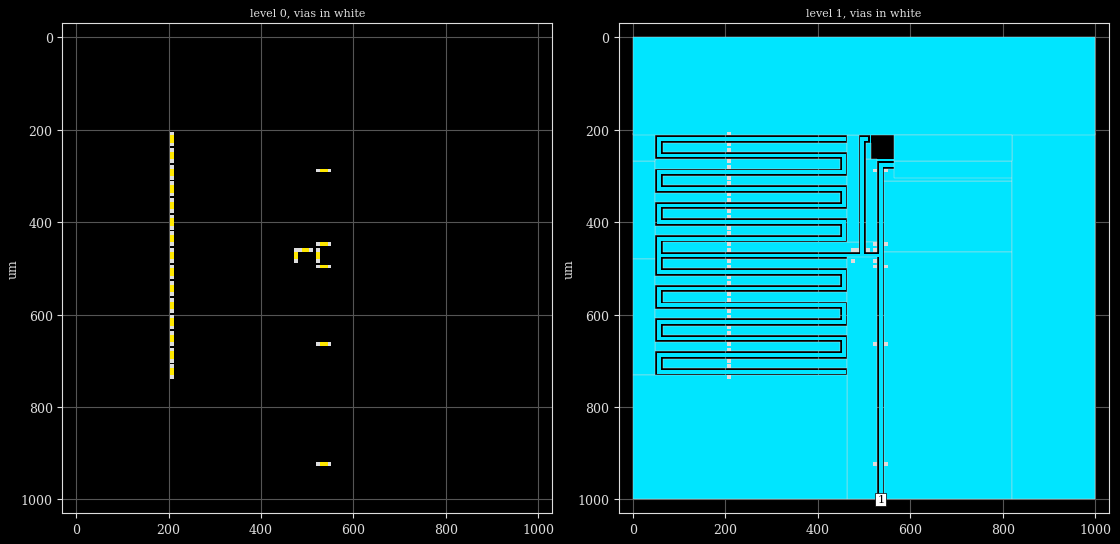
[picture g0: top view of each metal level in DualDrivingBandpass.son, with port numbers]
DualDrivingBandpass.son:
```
FTYP SONPROJ 15 ! Sonnet Project File
VER 16.52
HEADER
LIC calt2.2.43068 b4ae2bd1247e DESKTOP-SL82IK9 Michael
DAT 06/24/2016 17:07:41
BUILT_BY_CREATED xgeom 16.52 04/11/2016 14:48:12
BUILT_BY_SAVED xgeom 16.52
MDATE 06/24/2016 17:07:41
HDATE 06/24/2016 17:07:41
END HEADER
DIM
FREQ GHZ
IND NH
LNG UM
ANG DEG
CON /OH
CAP PF
RES OH
END DIM
FREQ
ABS 5.0 26.0 
END FREQ
CONTROL
ABS
OPTIONS  -dj 
SPEED 0
CACHE_ABS 1
TARG_ABS 300
Q_ACC Y
DET_ABS_RES Y
END CONTROL
GEO
DRP1 RIGHT FIX 100
TMET "Lossless" 0 SUP 0 0 0 0
BMET "Lossless" 0 SUP 0 0 0 0
BOX 3 1000 1000 500 500 20 0
      500 1 1 0 0 0 0 "Unnamed"
      10 1 1 0 0 0 0 "Unnamed"
      500 11.9 1 5e-006 0 0 0 "Silicon (intrinsic)"
      500 1 1 0 0 0 0 "Unnamed"
LORGN 0 1000 U 
POR1 STD
POLY 30 1
2
1 50 0 0 0 536.0000043 999.9999669 
NUM 136
0 5 -1 N 82 1 1 100 100 0 0 0 Y
520 284
552 284
552 292
520 292
520 284
END
0 5 -1 N 87 1 1 100 100 0 0 0 Y
520 456
528 456
528 488
520 488
520 456
END
0 5 -1 N 88 1 1 100 100 0 0 0 Y
472 456
480 456
480 488
472 488
472 456
END
0 5 -1 N 93 1 1 100 100 0 0 0 Y
204 456
212 456
212 488
204 488
204 456
END
0 5 -1 N 98 1 1 100 100 0 0 0 Y
204 420
212 420
212 452
204 452
204 420
END
0 5 -1 N 103 1 1 100 100 0 0 0 Y
204 384
212 384
212 416
204 416
204 384
END
0 5 -1 N 104 1 1 100 100 0 0 0 Y
204 348
212 348
212 380
204 380
204 348
END
0 5 -1 N 113 1 1 100 100 0 0 0 Y
204 312
212 312
212 344
204 344
204 312
END
0 5 -1 N 114 1 1 100 100 0 0 0 Y
204 276
212 276
212 308
204 308
204 276
END
0 5 -1 N 115 1 1 100 100 0 0 0 Y
204 240
212 240
212 272
204 272
204 240
END
0 5 -1 N 116 1 1 100 100 0 0 0 Y
204 204
212 204
212 236
204 236
204 204
END
0 5 -1 N 134 1 1 100 100 0 0 0 Y
520 492
552 492
552 500
520 500
520 492
END
0 5 -1 N 139 1 1 100 100 0 0 0 Y
520 444
552 444
552 452
520 452
520 444
END
0 5 -1 N 239 1 1 100 100 0 0 0 Y
204 492
212 492
212 524
204 524
204 492
END
0 5 -1 N 240 1 1 100 100 0 0 0 Y
204 528
212 528
212 560
204 560
204 528
END
0 5 -1 N 241 1 1 100 100 0 0 0 Y
204 564
212 564
212 596
204 596
204 564
END
0 5 -1 N 242 1 1 100 100 0 0 0 Y
204 600
212 600
212 632
204 632
204 600
END
0 5 -1 N 243 1 1 100 100 0 0 0 Y
204 636
212 636
212 668
204 668
204 636
END
0 5 -1 N 244 1 1 100 100 0 0 0 Y
204 672
212 672
212 704
204 704
204 672
END
0 5 -1 N 245 1 1 100 100 0 0 0 Y
204 708
212 708
212 740
204 740
204 708
END
0 5 -1 N 256 1 1 100 100 0 0 0 Y
520 660
552 660
552 668
520 668
520 660
END
0 5 -1 N 261 1 1 100 100 0 0 0 Y
520 920
552 920
552 928
520 928
520 920
END
0 5 -1 N 267 1 1 100 100 0 0 0 Y
480 456
512 456
512 464
480 464
480 456
END
1 5 -1 N 30 1 1 100 100 0 0 0 Y
532.0000085 476.000045
540 476.000045
540 999.9999669
532.0000085 999.9999669
532.0000085 476.000045
END
1 5 -1 N 31 1 1 100 100 0 0 0 Y
52.00001941 468
540 468
540 475.9999955
52.00001941 475.9999955
52.00001941 468
END
1 5 -1 N 32 1 1 100 100 0 0 0 Y
532 271.9999851
539.9999547 271.9999851
539.9999547 468
532 468
532 271.9999851
END
1 5 -1 N 33 1 1 100 100 0 0 0 Y
540 272
564 272
564 280.0000147
540 280.0000147
540 272
END
1 5 -1 N 34 1 1 100 100 0 0 0 Y
516.0000126 263.9999917
564.0000504 263.9999917
564.0000504 268.0000136
516.0000126 268.0000136
516.0000126 263.9999917
END
1 5 -1 N 35 1 1 100 100 0 0 0 Y
544 312
820 312
820 464
544 464
544 312
END
1 5 -1 N 36 1 1 100 100 0 0 0 Y
544 464
820 464
820 1000
544 1000
544 464
END
1 5 -1 N 38 1 1 100 100 0 0 0 Y
51.9999738 432
460 432
460 440.0000247
51.9999738 440.0000247
51.9999738 432
END
1 5 -1 N 42 1 1 100 100 0 0 0 Y
51.9999738 440.0000247
60 440.0000247
60 468
51.9999738 468
51.9999738 440.0000247
END
1 5 -1 N 43 1 1 100 100 0 0 0 Y
64 444
487.9999783 444
487.9999783 464
64 464
64 444
END
1 5 -1 N 44 1 1 100 100 0 0 0 Y
51.9999738 396
460 396
460 404.0000247
51.9999738 404.0000247
51.9999738 396
END
1 5 -1 N 45 1 1 100 100 0 0 0 Y
48.00002069 408
447.9999812 408
447.9999812 428
48.00002069 428
48.00002069 408
END
1 5 -1 N 47 1 1 100 100 0 0 0 Y
452 404.0000247
460 404.0000247
460 432
452 432
452 404.0000247
END
1 5 -1 N 49 1 1 100 100 0 0 0 Y
-2.312681663e-005 268.0000136
48 268.0000136
48 480.0000278
-2.312681663e-005 480.0000278
-2.312681663e-005 268.0000136
END
1 5 -1 N 50 1 1 100 100 0 0 0 Y
544.0000054 283.9999671
820 283.9999671
820 312
544.0000054 312
544.0000054 283.9999671
END
1 5 -1 N 51 1 1 100 100 0 0 0 Y
564.0000504 268.0000136
820 268.0000136
820 304.0000479
564.0000504 304.0000479
564.0000504 268.0000136
END
1 5 -1 N 58 1 1 100 100 0 0 0 Y
820 208.0000082
1000 208.0000082
1000 1000
820 1000
820 208.0000082
END
1 5 -1 N 59 1 1 100 100 0 0 0 Y
51.9999738 368.0000247
60 368.0000247
60 396
51.9999738 396
51.9999738 368.0000247
END
1 5 -1 N 60 1 1 100 100 0 0 0 Y
51.9999738 360
460 360
460 368.0000247
51.9999738 368.0000247
51.9999738 360
END
1 5 -1 N 61 1 1 100 100 0 0 0 Y
48.00002069 336
447.9999812 336
447.9999812 356
48.00002069 356
48.00002069 336
END
1 5 -1 N 62 1 1 100 100 0 0 0 Y
51.9999738 324
460 324
460 332.0000247
51.9999738 332.0000247
51.9999738 324
END
1 5 -1 N 63 1 1 100 100 0 0 0 Y
452 332.0000247
460 332.0000247
460 360
452 360
452 332.0000247
END
1 5 -1 N 64 1 1 100 100 0 0 0 Y
64.00002069 372
463.9999812 372
463.9999812 392
64.00002069 392
64.00002069 372
END
1 5 -1 N 65 1 1 100 100 0 0 0 Y
51.9999738 296.0000247
60 296.0000247
60 324
51.9999738 324
51.9999738 296.0000247
END
1 5 -1 N 66 1 1 100 100 0 0 0 Y
64.00002069 300
463.9999812 300
463.9999812 320
64.00002069 320
64.00002069 300
END
1 5 -1 N 67 1 1 100 100 0 0 0 Y
51.9999738 288
460 288
460 296.0000247
51.9999738 296.0000247
51.9999738 288
END
1 5 -1 N 68 1 1 100 100 0 0 0 Y
48.00002069 264
447.9999812 264
447.9999812 284
48.00002069 284
48.00002069 264
END
1 5 -1 N 69 1 1 100 100 0 0 0 Y
452 260.0000247
460 260.0000247
460 288
452 288
452 260.0000247
END
1 5 -1 N 70 1 1 100 100 0 0 0 Y
51.9999738 252
460 252
460 260.0000247
51.9999738 260.0000247
51.9999738 252
END
1 5 -1 N 71 1 1 100 100 0 0 0 Y
51.9999738 224.0000247
60 224.0000247
60 252
51.9999738 252
51.9999738 224.0000247
END
1 5 -1 N 72 1 1 100 100 0 0 0 Y
51.9999738 216
460 216
460 224.0000247
51.9999738 224.0000247
51.9999738 216
END
1 5 -1 N 73 1 1 100 100 0 0 0 Y
64.00002069 228
463.9999812 228
463.9999812 248
64.00002069 248
64.00002069 228
END
1 5 -1 N 74 1 1 100 100 0 0 0 Y
0 208.0000348
48 208.0000348
48 268.0000136
0 268.0000136
0 208.0000348
END
VIA POLYGON
1 5 -1 N 79 1 1 100 100 0 0 0 Y
TOLEVEL 0 RING NOCOVERS
520 284
528 284
528 292
520 292
520 284
END
VIA POLYGON
1 5 -1 N 81 1 1 100 100 0 0 0 Y
TOLEVEL 0 RING NOCOVERS
544 284
552 284
552 292
544 292
544 284
END
VIA POLYGON
1 5 -1 N 84 1 1 100 100 0 0 0 Y
TOLEVEL 0 RING NOCOVERS
520 480
528 480
528 488
520 488
520 480
END
VIA POLYGON
1 5 -1 N 86 1 1 100 100 0 0 0 Y
TOLEVEL 0 RING NOCOVERS
520 456
528 456
528 464
520 464
520 456
END
VIA POLYGON
1 5 -1 N 90 1 1 100 100 0 0 0 Y
TOLEVEL 0 RING NOCOVERS
472 480
480 480
480 488
472 488
472 480
END
VIA POLYGON
1 5 -1 N 92 1 1 100 100 0 0 0 Y
TOLEVEL 0 RING NOCOVERS
472 456
480 456
480 464
472 464
472 456
END
VIA POLYGON
1 5 -1 N 95 1 1 100 100 0 0 0 Y
TOLEVEL 0 RING NOCOVERS
204 480
212 480
212 488
204 488
204 480
END
VIA POLYGON
1 5 -1 N 97 1 1 100 100 0 0 0 Y
TOLEVEL 0 RING NOCOVERS
204 456
212 456
212 464
204 464
204 456
END
VIA POLYGON
1 5 -1 N 100 1 1 100 100 0 0 0 Y
TOLEVEL 0 RING NOCOVERS
204 444
212 444
212 452
204 452
204 444
END
VIA POLYGON
1 5 -1 N 102 1 1 100 100 0 0 0 Y
TOLEVEL 0 RING NOCOVERS
204 420
212 420
212 428
204 428
204 420
END
VIA POLYGON
1 5 -1 N 106 1 1 100 100 0 0 0 Y
TOLEVEL 0 RING NOCOVERS
204 408
212 408
212 416
204 416
204 408
END
VIA POLYGON
1 5 -1 N 108 1 1 100 100 0 0 0 Y
TOLEVEL 0 RING NOCOVERS
204 384
212 384
212 392
204 392
204 384
END
VIA POLYGON
1 5 -1 N 110 1 1 100 100 0 0 0 Y
TOLEVEL 0 RING NOCOVERS
204 372
212 372
212 380
204 380
204 372
END
VIA POLYGON
1 5 -1 N 112 1 1 100 100 0 0 0 Y
TOLEVEL 0 RING NOCOVERS
204 348
212 348
212 356
204 356
204 348
END
VIA POLYGON
1 5 -1 N 118 1 1 100 100 0 0 0 Y
TOLEVEL 0 RING NOCOVERS
204 336
212 336
212 344
204 344
204 336
END
VIA POLYGON
1 5 -1 N 120 1 1 100 100 0 0 0 Y
TOLEVEL 0 RING NOCOVERS
204 312
212 312
212 320
204 320
204 312
END
VIA POLYGON
1 5 -1 N 122 1 1 100 100 0 0 0 Y
TOLEVEL 0 RING NOCOVERS
204 300
212 300
212 308
204 308
204 300
END
VIA POLYGON
1 5 -1 N 124 1 1 100 100 0 0 0 Y
TOLEVEL 0 RING NOCOVERS
204 276
212 276
212 284
204 284
204 276
END
VIA POLYGON
1 5 -1 N 126 1 1 100 100 0 0 0 Y
TOLEVEL 0 RING NOCOVERS
204 264
212 264
212 272
204 272
204 264
END
VIA POLYGON
1 5 -1 N 128 1 1 100 100 0 0 0 Y
TOLEVEL 0 RING NOCOVERS
204 240
212 240
212 248
204 248
204 240
END
VIA POLYGON
1 5 -1 N 130 1 1 100 100 0 0 0 Y
TOLEVEL 0 RING NOCOVERS
204 228
212 228
212 236
204 236
204 228
END
VIA POLYGON
1 5 -1 N 132 1 1 100 100 0 0 0 Y
TOLEVEL 0 RING NOCOVERS
204 204
212 204
212 212
204 212
204 204
END
VIA POLYGON
1 5 -1 N 136 1 1 100 100 0 0 0 Y
TOLEVEL 0 RING NOCOVERS
520 492
528 492
528 500
520 500
520 492
END
VIA POLYGON
1 5 -1 N 138 1 1 100 100 0 0 0 Y
TOLEVEL 0 RING NOCOVERS
544 492
552 492
552 500
544 500
544 492
END
VIA POLYGON
1 5 -1 N 141 1 1 100 100 0 0 0 Y
TOLEVEL 0 RING NOCOVERS
520 444
528 444
528 452
520 452
520 444
END
VIA POLYGON
1 5 -1 N 143 1 1 100 100 0 0 0 Y
TOLEVEL 0 RING NOCOVERS
544 444
552 444
552 452
544 452
544 444
END
1 5 -1 N 144 1 1 100 100 0 0 0 Y
504 263.9999917
528 263.9999917
528 444
504 444
504 263.9999917
END
1 5 -1 N 145 1 1 100 100 0 0 0 Y
504 444
528 444
528 464
504 464
504 444
END
1 5 -1 N 146 1 1 100 100 0 0 0 Y
492 215.9999698
500 215.9999698
500 467.9999805
492 467.9999805
492 215.9999698
END
1 5 -1 N 147 1 1 100 100 0 0 0 Y
500 215.9999698
508 215.9999698
508 224
500 224
500 215.9999698
END
1 5 -1 N 150 1 1 100 100 0 0 0 Y
464 212.0000026
487.9999783 212.0000026
487.9999783 444
464 444
464 212.0000026
END
1 5 -1 N 168 1 1 100 100 0 0 0 Y
51.9999738 684
460 684
460 692.0000247
51.9999738 692.0000247
51.9999738 684
END
1 5 -1 N 170 1 1 100 100 0 0 0 Y
51.9999738 692.0000247
60 692.0000247
60 720
51.9999738 720
51.9999738 692.0000247
END
1 5 -1 N 172 1 1 100 100 0 0 0 Y
51.9999738 648
460 648
460 656.0000247
51.9999738 656.0000247
51.9999738 648
END
1 5 -1 N 174 1 1 100 100 0 0 0 Y
48.00002069 660
447.9999812 660
447.9999812 680
48.00002069 680
48.00002069 660
END
1 5 -1 N 176 1 1 100 100 0 0 0 Y
452 656.0000247
460 656.0000247
460 684
452 684
452 656.0000247
END
1 5 -1 N 178 1 1 100 100 0 0 0 Y
-2.312681663e-005 480.0000308
48 480.0000308
48 732.0000278
-2.312681663e-005 732.0000278
-2.312681663e-005 480.0000308
END
1 5 -1 N 180 1 1 100 100 0 0 0 Y
51.9999738 620.0000247
60 620.0000247
60 648
51.9999738 648
51.9999738 620.0000247
END
1 5 -1 N 182 1 1 100 100 0 0 0 Y
51.9999738 612
460 612
460 620.0000247
51.9999738 620.0000247
51.9999738 612
END
1 5 -1 N 184 1 1 100 100 0 0 0 Y
48.00002069 588
447.9999812 588
447.9999812 608
48.00002069 608
48.00002069 588
END
1 5 -1 N 186 1 1 100 100 0 0 0 Y
51.9999738 576
460 576
460 584.0000247
51.9999738 584.0000247
51.9999738 576
END
1 5 -1 N 188 1 1 100 100 0 0 0 Y
452 584.0000247
460 584.0000247
460 612
452 612
452 584.0000247
END
1 5 -1 N 190 1 1 100 100 0 0 0 Y
64.00002069 624
463.9999812 624
463.9999812 644
64.00002069 644
64.00002069 624
END
1 5 -1 N 192 1 1 100 100 0 0 0 Y
51.9999738 548.0000247
60 548.0000247
60 576
51.9999738 576
51.9999738 548.0000247
END
1 5 -1 N 194 1 1 100 100 0 0 0 Y
64.00002069 552
463.9999812 552
463.9999812 572
64.00002069 572
64.00002069 552
END
1 5 -1 N 196 1 1 100 100 0 0 0 Y
51.9999738 540
460 540
460 548.0000247
51.9999738 548.0000247
51.9999738 540
END
1 5 -1 N 198 1 1 100 100 0 0 0 Y
48.00002069 516
447.9999812 516
447.9999812 536
48.00002069 536
48.00002069 516
END
1 5 -1 N 200 1 1 100 100 0 0 0 Y
452 512.0000247
460 512.0000247
460 540
452 540
452 512.0000247
END
1 5 -1 N 202 1 1 100 100 0 0 0 Y
51.9999738 504
460 504
460 512.0000247
51.9999738 512.0000247
51.9999738 504
END
1 5 -1 N 204 1 1 100 100 0 0 0 Y
51.9999738 476.0000247
60 476.0000247
60 504
51.9999738 504
51.9999738 476.0000247
END
1 5 -1 N 206 1 1 100 100 0 0 0 Y
64.00002069 480
463.9999812 480
463.9999812 500
64.00002069 500
64.00002069 480
END
VIA POLYGON
1 5 -1 N 208 1 1 100 100 0 0 0 Y
TOLEVEL 0 RING NOCOVERS
204 732
212 732
212 740
204 740
204 732
END
VIA POLYGON
1 5 -1 N 210 1 1 100 100 0 0 0 Y
TOLEVEL 0 RING NOCOVERS
204 708
212 708
212 716
204 716
204 708
END
VIA POLYGON
1 5 -1 N 212 1 1 100 100 0 0 0 Y
TOLEVEL 0 RING NOCOVERS
204 696
212 696
212 704
204 704
204 696
END
VIA POLYGON
1 5 -1 N 214 1 1 100 100 0 0 0 Y
TOLEVEL 0 RING NOCOVERS
204 672
212 672
212 680
204 680
204 672
END
VIA POLYGON
1 5 -1 N 216 1 1 100 100 0 0 0 Y
TOLEVEL 0 RING NOCOVERS
204 660
212 660
212 668
204 668
204 660
END
VIA POLYGON
1 5 -1 N 218 1 1 100 100 0 0 0 Y
TOLEVEL 0 RING NOCOVERS
204 636
212 636
212 644
204 644
204 636
END
VIA POLYGON
1 5 -1 N 220 1 1 100 100 0 0 0 Y
TOLEVEL 0 RING NOCOVERS
204 624
212 624
212 632
204 632
204 624
END
VIA POLYGON
1 5 -1 N 222 1 1 100 100 0 0 0 Y
TOLEVEL 0 RING NOCOVERS
204 600
212 600
212 608
204 608
204 600
END
VIA POLYGON
1 5 -1 N 224 1 1 100 100 0 0 0 Y
TOLEVEL 0 RING NOCOVERS
204 588
212 588
212 596
204 596
204 588
END
VIA POLYGON
1 5 -1 N 226 1 1 100 100 0 0 0 Y
TOLEVEL 0 RING NOCOVERS
204 564
212 564
212 572
204 572
204 564
END
VIA POLYGON
1 5 -1 N 228 1 1 100 100 0 0 0 Y
TOLEVEL 0 RING NOCOVERS
204 552
212 552
212 560
204 560
204 552
END
VIA POLYGON
1 5 -1 N 230 1 1 100 100 0 0 0 Y
TOLEVEL 0 RING NOCOVERS
204 528
212 528
212 536
204 536
204 528
END
VIA POLYGON
1 5 -1 N 232 1 1 100 100 0 0 0 Y
TOLEVEL 0 RING NOCOVERS
204 516
212 516
212 524
204 524
204 516
END
VIA POLYGON
1 5 -1 N 234 1 1 100 100 0 0 0 Y
TOLEVEL 0 RING NOCOVERS
204 492
212 492
212 500
204 500
204 492
END
VIA POLYGON
1 5 -1 N 236 1 1 100 100 0 0 0 Y
TOLEVEL 0 RING NOCOVERS
204 480
212 480
212 488
204 488
204 480
END
1 5 -1 N 238 1 1 100 100 0 0 0 Y
51.9999738 720
460 720
460 728.0000247
51.9999738 728.0000247
51.9999738 720
END
1 5 -1 N 247 1 1 100 100 0 0 0 Y
64.00002069 696
463.9999812 696
463.9999812 716
64.00002069 716
64.00002069 696
END
1 5 -1 N 249 1 1 100 100 0 0 0 Y
463.9812524 475.9735987
527.7773072 475.9735987
527.7773072 1000.000011
463.9812524 1000.000011
463.9812524 475.9735987
END
1 5 -1 N 250 1 1 100 100 0 0 0 Y
-2.312681663e-005 732.0000278
463.9812524 732.0000278
463.9812524 1000.000011
-2.312681663e-005 1000.000011
-2.312681663e-005 732.0000278
END
1 5 -1 N 251 1 1 100 100 0 0 0 Y
0 0
1000.000098 0
1000.000098 212.0000026
0 212.0000026
0 0
END
1 5 -1 N 253 1 1 100 100 0 0 0 Y
504 228
516 228
516 263.9999917
504 263.9999917
504 228
END
1 5 -1 N 254 1 1 100 100 0 0 0 Y
512 212.0000026
516 212.0000026
516 228
512 228
512 212.0000026
END
1 5 -1 N 255 1 1 100 100 0 0 0 Y
564.0000504 212.0000026
820 212.0000026
820 268.0000136
564.0000504 268.0000136
564.0000504 212.0000026
END
VIA POLYGON
1 5 -1 N 258 1 1 100 100 0 0 0 Y
TOLEVEL 0 RING NOCOVERS
520 660
528 660
528 668
520 668
520 660
END
VIA POLYGON
1 5 -1 N 260 1 1 100 100 0 0 0 Y
TOLEVEL 0 RING NOCOVERS
544 660
552 660
552 668
544 668
544 660
END
VIA POLYGON
1 5 -1 N 263 1 1 100 100 0 0 0 Y
TOLEVEL 0 RING NOCOVERS
520 920
528 920
528 928
520 928
520 920
END
VIA POLYGON
1 5 -1 N 265 1 1 100 100 0 0 0 Y
TOLEVEL 0 RING NOCOVERS
544 920
552 920
552 928
544 928
544 920
END
VIA POLYGON
1 5 -1 N 269 1 1 100 100 0 0 0 Y
TOLEVEL 0 RING NOCOVERS
480 456
488 456
488 464
480 464
480 456
END
VIA POLYGON
1 5 -1 N 271 1 1 100 100 0 0 0 Y
TOLEVEL 0 RING NOCOVERS
504 456
512 456
512 464
504 464
504 456
END
END GEO
OPT
MAX 100
VARS
END
END OPT
VARSWP
END VARSWP
QSG
IMPORT NO
EXTRA_METAL NO
UNITS NO
ALIGN NO
REF NO
VIEW_RES YES
METALS NO
USED YES
END QSG
```
